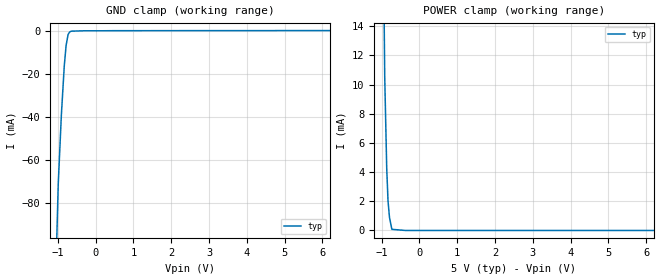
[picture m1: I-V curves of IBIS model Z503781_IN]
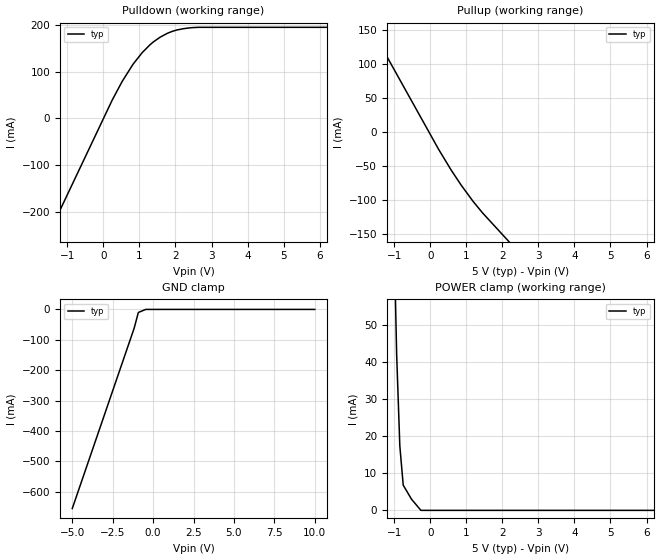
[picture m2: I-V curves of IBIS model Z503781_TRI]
| YOU ARE ONLY AUTHORIZED TO USE THIS SOFTWARE
| ACCORDING TO LICENSOR'S LICENSE RESTRICTIONS.
[IBIS Ver] 3.1
[File Name] mc74ac350n.ibs
[File Rev] 2.0
[Source] Measured and created by ICX Technology
[Date] Friday 7/14/00 9:08:00 AM
[Copyright]
| (C) COPYRIGHT 1993-2000
| MENTOR GRAPHICS CORPORATION
| ICX STANDARD LIBRARY, ICX PROJECT MODELING,
| ICX CUSTOM MODELING, ICX VENDOR MODEL
| ALL RIGHTS RESERVED.
| THE FOLLOWING ARE TRADEMARKS OR SERVICE MARKS OF
| MENTOR GRAPHICS CORPORATION:ICX (R), ICX STANDARD
| LIBRARY(R), ICX PROJECT MODELING(R), ICX CUSTOM
| MODELING(R), qualityIBIS(TM), MODELVIEWER(TM),
| AND MODELEDITOR(TM)
| ALL COPIES OF SOFTWARE, INCLUDING BUT NOT LIMITED TO
| ANY MODIFICATIONS, ENHANCEMENTS OR DERIVATIVE WORKS,
| MUST CONTAIN ALL MENTOR GRAPHICS CORPORATION'S
| NOTICES AND LEGENDS, INCLUDING THOSE EMBEDDED IN
| SOFTWARE AND THOSE AFFIXED TO SOFTWARE MEDIUM
| AND CONTAINER, AS RECEIVED FROM MENTOR GRAPHICS
| CORPORATION.
|  ZAP Model Builder 2.7
[Component] MC74AC350N
[Manufacturer] OnSemiconductor
[Package]
| variable   typ   min   max
R_pkg  .212ohms NA NA
L_pkg  4.758nH NA NA
C_pkg  1.143pF NA NA
[Pin] signal_name  model_name  R_pin  L_pin C_pin
1 D_3 Z503781_IN .224 7.258n 1.578p
2 D_2 Z503781_IN .216 5.258n 1.288p
3 D_1 Z503781_IN .208 3.758n .998p
4 D0 Z503781_IN .2 2.758n .708p
5 D1 Z503781_IN .2 2.758n .708p
6 D2 Z503781_IN .208 3.758n .998p
7 D3 Z503781_IN .216 5.258n 1.288p
8 GND GND .224 7.258n 1.578p
9 S1 Z503781_IN .224 7.258n 1.578p
10 S0 Z503781_IN .216 5.258n 1.288p
11 Y3 Z503781_TRI .208 3.758n .998p
12 Y2 Z503781_TRI .2 2.758n .708p
13 _OE Z503781_IN .2 2.758n .708p
14 Y1 Z503781_TRI .208 3.758n .998p
15 Y0 Z503781_TRI .216 5.258n 1.288p
16 VCC POWER .224 7.258n 1.578p
| Models and submodels in the file (2): Z503781_IN (Input), Z503781_TRI (3-state)
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| (C) COPYRIGHT 1993-2000
| MENTOR GRAPHICS CORPORATION
| ICX STANDARD LIBRARY, ICX PROJECT MODELING,
| ICX CUSTOM MODELING, ICX VENDOR MODEL
| ALL RIGHTS RESERVED.
| THE FOLLOWING ARE TRADEMARKS OR SERVICE MARKS OF
| MENTOR GRAPHICS CORPORATION:ICX (R), ICX STANDARD
| LIBRARY(R), ICX PROJECT MODELING(R), ICX CUSTOM
| MODELING(R), qualityIBIS(TM), MODELVIEWER(TM),
| AND MODELEDITOR(TM)
| ALL COPIES OF SOFTWARE, INCLUDING BUT NOT LIMITED TO
| ANY MODIFICATIONS, ENHANCEMENTS OR DERIVATIVE WORKS,
| MUST CONTAIN ALL MENTOR GRAPHICS CORPORATION'S
| NOTICES AND LEGENDS, INCLUDING THOSE EMBEDDED IN
| SOFTWARE AND THOSE AFFIXED TO SOFTWARE MEDIUM
| AND CONTAINER, AS RECEIVED FROM MENTOR GRAPHICS
| CORPORATION.
| Model Application Version 1.89 2/18/99.
[Model] Z503781_IN
Model_type Input
Vinl = 1.500V
Vinh = 3.500V
C_comp 4.000pF NA NA
| variable typ   min   max
[Voltage Range] 5.000V NA NA
[GND Clamp Reference] 0.000V NA NA
[POWER Clamp Reference] 5.000V NA NA
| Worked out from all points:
|   GND clamp passes 1 mA (typ) near -0.71 V on its own axis
|   POWER clamp passes 1 mA (typ) near -0.79 V on its own axis
[GND Clamp]
-5V       -2.71A     NA         NA
-989.8mV  -71.47mA   NA         NA
-906.4mV  -39.06mA   NA         NA
-830mV    -16.29mA   NA         NA
-781.2mV  -6.722mA   NA         NA
-727.8mV  -1.593mA   NA         NA
-684.4mV  -447.9uA   NA         NA
-645.4mV  -102.2uA   NA         NA
10V       182uA      NA         NA
[POWER Clamp]
-5V       2.179A     NA         NA
-1.137V   87.61mA    NA         NA
-1.012V   35.41mA    NA         NA
-917mV    10.54mA    NA         NA
-864mV    4.239mA    NA         NA
-830mV    2.039mA    NA         NA
-791mV    889uA      NA         NA
-728mV    77.4uA     NA         NA
-364mV    0A         NA         NA
10V       0A         NA         NA
| (C) COPYRIGHT 1993-2000
| MENTOR GRAPHICS CORPORATION
| ICX STANDARD LIBRARY, ICX PROJECT MODELING,
| ICX CUSTOM MODELING, ICX VENDOR MODEL
| ALL RIGHTS RESERVED.
| THE FOLLOWING ARE TRADEMARKS OR SERVICE MARKS OF
| MENTOR GRAPHICS CORPORATION:ICX (R), ICX STANDARD
| LIBRARY(R), ICX PROJECT MODELING(R), ICX CUSTOM
| MODELING(R), qualityIBIS(TM), MODELVIEWER(TM),
| AND MODELEDITOR(TM)
| ALL COPIES OF SOFTWARE, INCLUDING BUT NOT LIMITED TO
| ANY MODIFICATIONS, ENHANCEMENTS OR DERIVATIVE WORKS,
| MUST CONTAIN ALL MENTOR GRAPHICS CORPORATION'S
| NOTICES AND LEGENDS, INCLUDING THOSE EMBEDDED IN
| SOFTWARE AND THOSE AFFIXED TO SOFTWARE MEDIUM
| AND CONTAINER, AS RECEIVED FROM MENTOR GRAPHICS
| CORPORATION.
| Model Application Version 1.89 2/18/99.
[Model] Z503781_TRI
Model_type 3-state
Vref=0.000V
Rref=500.0ohms
Cref=50.00pF
Vmeas=2.500V
C_comp 8.000pF NA NA
| variable typ   min   max
[Voltage Range] 5.000V NA NA
[POWER Clamp Reference] 5.000V NA NA
[Pullup Reference] 5.000V NA NA
[Pulldown Reference] 0.000V NA NA
[GND Clamp Reference] 0.000V NA NA
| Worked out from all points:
|   slope of the pulldown table from 0 to 0.75 V, typ, clamps not added: 6.96 ohm
|   slope of the pullup table from 0 to 0.75 V, typ, clamps not added: 11.3 ohm
[GND Clamp]
-5V       -655.1mA   NA         NA
-1.172V   -61.83mA   NA         NA
-913.2mV  -10.06mA   NA         NA
-456.6mV  0A         NA         NA
10V       0A         NA         NA
[Pulldown]
-5V       -814.4mA   NA         NA
244.3mV   39.3mA     NA         NA
522.8mV   79.48mA    NA         NA
820mV     115.8mA    NA         NA
1.074V    140.7mA    NA         NA
1.387V    163.9mA    NA         NA
1.574V    174mA      NA         NA
1.919V    186.7mA    NA         NA
2.212V    192.1mA    NA         NA
2.627V    195.1mA    NA         NA
10V       195.1mA    NA         NA
[Pullup]
-5V       473.1mA    NA         NA
235mV     -25.78mA   NA         NA
582mV     -56.21mA   NA         NA
860mV     -78.43mA   NA         NA
1.191V    -102.4mA   NA         NA
1.455V    -119.4mA   NA         NA
10V       -613.5mA   NA         NA
[POWER Clamp]
-5V       2.288A     NA         NA
-1.059V   98.58mA    NA         NA
-933mV    42.18mA    NA         NA
-845mV    17.45mA    NA         NA
-751mV    6.814mA    NA         NA
-520mV    3.006mA    NA         NA
-260mV    0A         NA         NA
10V       0A         NA         NA
[Ramp]
| variable typ min max
dV/dt_r 2.958/312.3p NA NA
dV/dt_f 2.958/489.3p NA NA
R_load = 500.0Ohms
